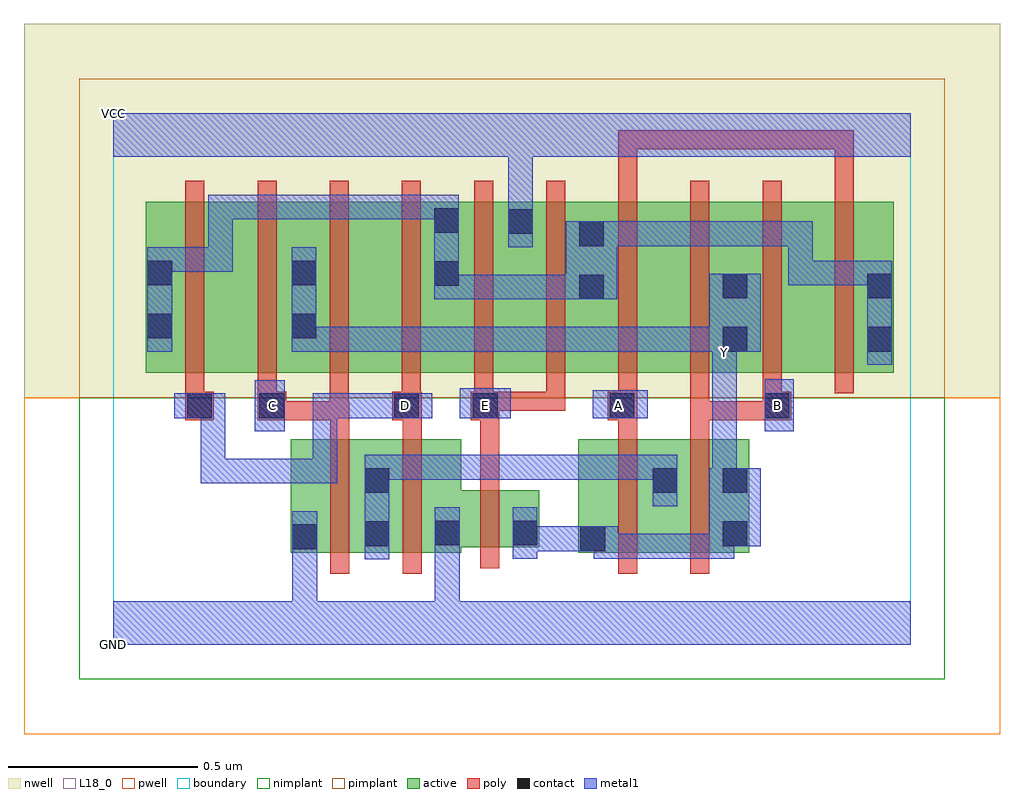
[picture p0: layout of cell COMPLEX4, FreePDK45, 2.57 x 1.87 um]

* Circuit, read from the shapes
.subckt COMPLEX4 A B C D E GND VCC Y
M1 n1 C GND VSUBS nfet w=0.3u l=0.05u
M2 GND D n1 VSUBS nfet w=0.3u l=0.05u
M3 Y E GND VSUBS nfet w=0.15u l=0.05u
M4 n1 A Y VSUBS nfet w=0.3u l=0.05u
M5 Y B n1 VSUBS nfet w=0.3u l=0.05u
M6 n2 D n3 n4 pfet w=0.45u l=0.05u
M7 Y C n2 n4 pfet w=0.45u l=0.05u
M8 n5 C Y n4 pfet w=0.45u l=0.05u
M9 n3 D n5 n4 pfet w=0.45u l=0.05u
M10 VCC E n3 n4 pfet w=0.45u l=0.05u m=2
M11 n6 A n3 n4 pfet w=0.45u l=0.05u
M12 Y B n6 n4 pfet w=0.45u l=0.05u
M13 n7 B Y n4 pfet w=0.45u l=0.05u
M14 n3 A n7 n4 pfet w=0.45u l=0.05u
.ends

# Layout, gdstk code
import gdstk
lib = gdstk.Library(unit=1e-6, precision=1e-09)
def R(c, l, rs):  # rectangles x0, y0, x1, y1
    for r in rs: c.add(gdstk.rectangle(r[:2], r[2:], *l))
def A(c, l, x, y, w, h, nx, ny, dx, dy):  # array of equal rectangles
    R(c, l, [(x+i*dx, y+j*dy, x+i*dx+w, y+j*dy+h) for i in range(nx) for j in range(ny)])
active = (1, 0)
pwell = (2, 0)
nwell = (3, 0)
nimplant = (4, 0)
pimplant = (5, 0)
poly = (9, 0)
contact = (10, 0)
metal1 = (11, 0)
L18_0 = (18, 0)
boundary = (235, 0)

complex4 = lib.new_cell('COMPLEX4')
R(complex4, active, [(0.467,0.242,0.732,0.542), (0.657,0.242,0.917,0.542), (0.657,0.242,0.732,0.47), (0.842,0.242,0.917,0.407), (1.225,0.242,1.49,0.542), (1.225,0.242,1.3,0.542), (1.415,0.242,1.675,0.542), (0.467,0.247,0.542,0.542), (1.6,0.255,1.675,0.542), (0.842,0.257,1.122,0.407), (1.047,0.257,1.122,0.407), (1.415,0.295,1.49,0.47), (0.085,0.717,0.16,1.155), (0.085,0.717,0.31,1.167), (0.31,0.717,0.54,1.167), (0.465,0.717,0.69,1.167), (0.465,0.717,0.54,1.07), (0.69,0.717,0.915,1.167), (0.84,0.717,1.11,1.167), (1.035,0.717,1.297,1.167), (1.222,0.717,1.45,1.167), (1.45,0.717,1.675,1.167), (1.6,0.717,1.83,1.167), (1.83,0.717,2.055,1.167), (1.98,0.717,2.055,1.155), (1.6,0.732,1.675,1.07), (0.84,0.782,0.915,1.167), (1.222,0.782,1.297,1.155), (1.035,0.857,1.11,1.167)])
R(complex4, pwell, [(-0.235,-0.235,2.335,0.65)])
R(complex4, nwell, [(-0.235,0.65,2.335,1.635)])
R(complex4, nimplant, [(-0.09,-0.09,2.19,0.65)])
R(complex4, pimplant, [(-0.09,0.65,2.19,1.49)])
A(complex4, poly, 0.76, 0.617, 0.05, 0.095, 4, 1, 0.19, 0)
A(complex4, poly, 0.19, 0.662, 0.05, 0.56, 10, 1, 0.19, 0)
R(complex4, poly, [(0.572,0.187,0.622,0.597), (0.762,0.187,0.812,0.597), (1.33,0.187,1.38,0.597), (1.52,0.187,1.57,0.597), (0.967,0.202,1.017,0.462), (0.967,0.412,1.017,0.642), (0.572,0.547,0.622,0.642), (0.762,0.547,0.812,0.642), (1.33,0.547,1.38,0.642), (1.52,0.547,1.57,0.642), (0.19,0.592,0.265,0.667), (0.38,0.592,0.455,0.667), (0.405,0.592,0.455,0.642), (0.405,0.592,0.455,0.642), (0.405,0.592,0.62,0.642), (0.57,0.592,0.62,0.712), (0.57,0.592,0.622,0.642), (0.735,0.592,0.812,0.667), (0.942,0.592,1.017,0.667), (1.302,0.592,1.38,0.667), (1.52,0.592,1.57,0.642), (1.52,0.592,1.57,0.642), (1.52,0.592,1.57,0.642), (1.52,0.592,1.76,0.642), (1.52,0.592,1.57,0.712), (1.71,0.592,1.785,0.667), (0.19,0.617,0.24,0.712), (0.38,0.617,0.43,0.712), (0.967,0.617,1.017,0.667), (0.967,0.617,1.017,0.667), (0.967,0.617,1.19,0.667), (1.14,0.617,1.19,0.667), (1.71,0.617,1.76,0.712), (1.33,1.172,1.38,1.355), (1.9,1.172,1.95,1.355), (1.33,1.305,1.38,1.355), (1.33,1.305,1.38,1.355), (1.33,1.305,1.38,1.355), (1.33,1.305,1.627,1.355), (1.577,1.305,1.627,1.355), (1.577,1.305,1.627,1.355), (1.577,1.305,1.627,1.355), (1.577,1.305,1.817,1.355), (1.767,1.305,1.95,1.355), (1.767,1.305,1.817,1.355), (1.767,1.305,1.817,1.355), (1.767,1.305,1.817,1.355), (1.9,1.305,1.95,1.355)])
R(complex4, contact, [(1.23,0.247,1.295,0.312), (0.472,0.252,0.537,0.317), (0.662,0.26,0.727,0.325), (1.605,0.26,1.67,0.325), (0.847,0.262,0.912,0.327), (1.052,0.262,1.117,0.327), (0.662,0.4,0.727,0.465), (1.42,0.4,1.485,0.465), (1.605,0.4,1.67,0.465), (0.195,0.597,0.26,0.662), (0.385,0.597,0.45,0.662), (0.74,0.597,0.805,0.662), (0.947,0.597,1.012,0.662), (1.307,0.597,1.372,0.662), (1.715,0.597,1.78,0.662), (1.605,0.772,1.67,0.837), (1.985,0.772,2.05,0.837), (0.09,0.807,0.155,0.872), (0.47,0.807,0.535,0.872), (1.227,0.91,1.292,0.975), (1.605,0.912,1.67,0.977), (1.985,0.912,2.05,0.977), (0.845,0.945,0.91,1.01), (0.09,0.947,0.155,1.012), (0.47,0.947,0.535,1.012), (1.227,1.05,1.292,1.115), (1.04,1.082,1.105,1.147), (0.845,1.085,0.91,1.15)])
R(complex4, metal1, [(0,0,2.1,0.115), (0.472,0.05,0.537,0.282), (0.847,0.05,0.912,0.115), (0.847,0.05,0.912,0.115), (0.847,0.05,0.912,0.292), (0.472,0.217,0.537,0.282), (0.472,0.217,0.537,0.282), (0.472,0.217,0.537,0.352), (0.662,0.225,0.727,0.5), (0.847,0.227,0.912,0.362), (1.052,0.227,1.117,0.362), (1.265,0.227,1.467,0.292), (1.265,0.227,1.33,0.312), (1.402,0.227,1.467,0.292), (1.402,0.227,1.467,0.292), (1.402,0.227,1.467,0.292), (1.402,0.227,1.635,0.292), (1.57,0.227,1.635,0.292), (1.57,0.227,1.635,0.325), (1.052,0.247,1.19,0.312), (1.125,0.247,1.19,0.312), (1.125,0.247,1.26,0.312), (1.195,0.247,1.33,0.312), (1.265,0.247,1.33,0.312), (1.57,0.26,1.705,0.465), (1.42,0.365,1.485,0.5), (1.577,0.4,1.642,0.767), (0.23,0.425,0.295,0.49), (0.23,0.425,0.295,0.662), (0.23,0.425,0.452,0.49), (0.387,0.425,0.452,0.49), (0.387,0.425,0.59,0.49), (0.525,0.425,0.59,0.49), (0.525,0.425,0.59,0.662), (0.662,0.435,0.727,0.5), (0.662,0.435,0.727,0.5), (0.662,0.435,0.91,0.5), (0.845,0.435,0.91,0.5), (0.845,0.435,1.052,0.5), (0.987,0.435,1.052,0.5), (0.987,0.435,1.052,0.5), (0.987,0.435,1.052,0.5), (0.987,0.435,1.19,0.5), (1.125,0.435,1.19,0.5), (1.125,0.435,1.327,0.5), (1.262,0.435,1.327,0.5), (1.262,0.435,1.327,0.5), (1.262,0.435,1.327,0.5), (1.262,0.435,1.485,0.5), (0.372,0.562,0.452,0.697), (1.715,0.562,1.792,0.7), (0.16,0.597,0.295,0.662), (0.23,0.597,0.295,0.662), (0.23,0.597,0.295,0.662), (0.525,0.597,0.59,0.662), (0.525,0.597,0.59,0.662), (0.525,0.597,0.59,0.662), (0.525,0.597,0.727,0.662), (0.662,0.597,0.727,0.662), (0.662,0.597,0.767,0.662), (0.702,0.597,0.84,0.662), (0.912,0.597,1.047,0.675), (1.262,0.597,1.407,0.67), (1.577,0.702,1.642,0.837), (1.985,0.737,2.05,1.012), (0.09,0.772,0.155,1.047), (0.47,0.772,0.535,1.047), (0.47,0.772,0.59,0.837), (0.525,0.772,0.59,0.837), (0.525,0.772,0.765,0.837), (0.7,0.772,0.765,0.837), (0.7,0.772,0.765,0.837), (0.7,0.772,0.765,0.837), (0.7,0.772,0.902,0.837), (0.837,0.772,0.902,0.837), (0.837,0.772,0.902,0.837), (0.837,0.772,0.902,0.837), (0.837,0.772,1.105,0.837), (1.04,0.772,1.105,0.837), (1.04,0.772,1.19,0.837), (1.125,0.772,1.19,0.837), (1.125,0.772,1.255,0.837), (1.19,0.772,1.255,0.837), (1.19,0.772,1.327,0.837), (1.262,0.772,1.327,0.837), (1.262,0.772,1.485,0.837), (1.42,0.772,1.485,0.837), (1.42,0.772,1.485,0.837), (1.42,0.772,1.485,0.837), (1.42,0.772,1.635,0.837), (1.57,0.772,1.705,0.977), (1.577,0.772,1.642,0.837), (0.845,0.91,0.91,1.185), (0.845,0.91,1.047,0.975), (0.982,0.91,1.047,0.975), (0.982,0.91,1.047,0.975), (0.982,0.91,1.047,0.975), (0.982,0.91,1.19,0.975), (1.125,0.91,1.19,0.975), (1.125,0.91,1.257,0.975), (1.192,0.91,1.327,1.115), (1.777,0.947,1.842,1.012), (1.777,0.947,2.05,1.012), (1.777,0.947,1.842,1.115), (1.985,0.947,2.05,1.012), (1.985,0.947,2.05,1.012), (0.09,0.982,0.155,1.047), (0.09,0.982,0.155,1.047), (0.09,0.982,0.315,1.047), (0.25,0.982,0.315,1.047), (0.25,0.982,0.315,1.185), (1.04,1.047,1.105,1.182), (1.262,1.05,1.327,1.115), (1.262,1.05,1.327,1.115), (1.262,1.05,1.485,1.115), (1.42,1.05,1.485,1.115), (1.42,1.05,1.485,1.115), (1.42,1.05,1.485,1.115), (1.42,1.05,1.622,1.115), (1.557,1.05,1.622,1.115), (1.557,1.05,1.622,1.115), (1.557,1.05,1.622,1.115), (1.557,1.05,1.842,1.115), (1.777,1.05,1.842,1.115), (1.04,1.117,1.105,1.182), (1.04,1.117,1.105,1.182), (1.04,1.117,1.105,1.35), (0.25,1.12,0.315,1.185), (0.25,1.12,0.452,1.185), (0.387,1.12,0.452,1.185), (0.387,1.12,0.452,1.185), (0.387,1.12,0.452,1.185), (0.387,1.12,0.59,1.185), (0.525,1.12,0.59,1.185), (0.525,1.12,0.765,1.185), (0.7,1.12,0.765,1.185), (0.7,1.12,0.765,1.185), (0.7,1.12,0.765,1.185), (0.7,1.12,0.91,1.185), (0,1.285,2.1,1.4)])
R(complex4, L18_0, [(0,0,2.1,0.115), (0.472,0.05,0.537,0.282), (0.847,0.05,0.912,0.115), (0.847,0.05,0.912,0.115), (0.847,0.05,0.912,0.292), (0.472,0.217,0.537,0.282), (0.472,0.217,0.537,0.282), (0.472,0.217,0.537,0.352), (0.847,0.227,0.912,0.362), (1.052,0.227,1.117,0.362), (1.265,0.227,1.467,0.292), (1.265,0.227,1.33,0.312), (1.402,0.227,1.467,0.292), (1.402,0.227,1.467,0.292), (1.402,0.227,1.467,0.292), (1.402,0.227,1.635,0.292), (1.57,0.227,1.635,0.292), (1.57,0.227,1.635,0.325), (1.052,0.247,1.19,0.312), (1.125,0.247,1.26,0.312), (1.125,0.247,1.19,0.312), (1.195,0.247,1.33,0.312), (1.265,0.247,1.33,0.312), (1.57,0.26,1.705,0.465), (1.577,0.4,1.642,0.767), (0.23,0.425,0.295,0.49), (0.23,0.425,0.295,0.662), (0.23,0.425,0.452,0.49), (0.387,0.425,0.452,0.49), (0.387,0.425,0.59,0.49), (0.525,0.425,0.59,0.49), (0.525,0.425,0.59,0.662), (0.372,0.562,0.452,0.697), (1.715,0.562,1.792,0.7), (0.16,0.597,0.295,0.662), (0.23,0.597,0.295,0.662), (0.23,0.597,0.295,0.662), (0.387,0.597,0.452,0.662), (0.525,0.597,0.59,0.662), (0.525,0.597,0.59,0.662), (0.525,0.597,0.59,0.662), (0.525,0.597,0.727,0.662), (0.662,0.597,0.727,0.662), (0.662,0.597,0.767,0.662), (0.702,0.597,0.84,0.662), (0.737,0.597,0.802,0.662), (0.912,0.597,1.047,0.675), (0.947,0.597,1.012,0.662), (1.262,0.597,1.407,0.67), (1.297,0.597,1.362,0.662), (1.717,0.597,1.782,0.662), (1.577,0.702,1.642,0.837), (1.577,0.737,1.642,0.802), (0.47,0.772,0.535,1.047), (0.47,0.772,0.59,0.837), (0.525,0.772,0.59,0.837), (0.525,0.772,0.765,0.837), (0.7,0.772,0.765,0.837), (0.7,0.772,0.765,0.837), (0.7,0.772,0.765,0.837), (0.7,0.772,0.902,0.837), (0.837,0.772,0.902,0.837), (0.837,0.772,0.902,0.837), (0.837,0.772,0.902,0.837), (0.837,0.772,1.105,0.837), (1.04,0.772,1.105,0.837), (1.04,0.772,1.19,0.837), (1.125,0.772,1.19,0.837), (1.125,0.772,1.255,0.837), (1.19,0.772,1.255,0.837), (1.19,0.772,1.327,0.837), (1.262,0.772,1.327,0.837), (1.262,0.772,1.485,0.837), (1.42,0.772,1.485,0.837), (1.42,0.772,1.485,0.837), (1.42,0.772,1.485,0.837), (1.42,0.772,1.635,0.837), (1.57,0.772,1.705,0.977), (1.577,0.772,1.642,0.837), (1.04,1.047,1.105,1.182), (1.04,1.117,1.105,1.182), (1.04,1.117,1.105,1.182), (1.04,1.117,1.105,1.35), (0,1.285,2.1,1.4)])
R(complex4, boundary, [(0,0,2.1,1.4)])
complex4.add(gdstk.Label('A', (1.33,0.63), layer=11, texttype=0))
complex4.add(gdstk.Label('B', (1.75,0.63), layer=11, texttype=0))
complex4.add(gdstk.Label('C', (0.42,0.63), layer=11, texttype=0))
complex4.add(gdstk.Label('D', (0.77,0.63), layer=11, texttype=0))
complex4.add(gdstk.Label('E', (0.98,0.63), layer=11, texttype=0))
complex4.add(gdstk.Label('Y', (1.61,0.77), layer=11, texttype=0))
complex4.add(gdstk.Label('VCC', (0,1.4), layer=11, texttype=0))
complex4.add(gdstk.Label('GND', (0,0), layer=11, texttype=0))

lib.write_gds('COMPLEX4.gds')
